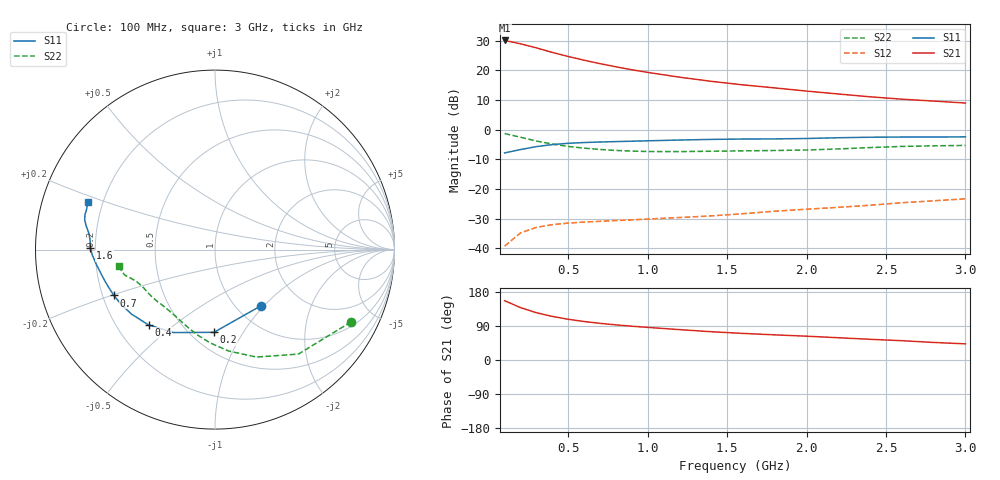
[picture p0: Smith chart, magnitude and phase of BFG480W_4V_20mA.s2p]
! Filename: 420BFG480.001
! Title: BFG480W
! Bias: Vce=4V; Ic=20mA
! Company: Philips Semiconductors NL
! User: Quality&Reliability T&D
! Measure time: 10 Nov 1999 / 12:02:24
#  MHz  S  MA  R 50
! Freq  S11  S21  S12  S22  :
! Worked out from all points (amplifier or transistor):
!   20 points, 100 MHz to 3 GHz, reference 50 ohm
!   highest |S21| = 30.1 dB at 100 MHz (marker M1)
!   |S21| within 3 dB of that: start of sweep to 332.3 MHz
!   unconditionally stable (mu >= 1): 1.358 GHz to end of sweep
!   at 400 MHz: K = 0.40, MSG = 29.1 dB, |S12| = -32.1 dB
!   at 1.2 GHz: K = 0.94, MSG = 23.7 dB, |S12| = -29.7 dB
!   at 3 GHz: K = 1.10, MAG = 14.3 dB, |S12| = -23.3 dB
!   S11 on the Smith chart (normalised r, x): 100 MHz: 1.29, -0.96; 200 MHz: 0.64, -0.75; 400 MHz: 0.33, -0.41; 700 MHz: 0.25, -0.20; 1.6 GHz: 0.18, +0.01; 3 GHz: 0.14, +0.18
100  0.4046 -50.5  31.99 156.5  0.0108 63.8  0.8583 -28.0
200  0.4609 -90.7  28.11 138.3  0.01812 53.6  0.7449 -51.4
300  0.517 -116.6  23.98 124.7  0.02243 46.5  0.642 -68.9
400  0.5595 -131.4  20.08 115.0  0.02492 42.2  0.5705 -82.3
500  0.5879 -142.3  17.18 107.5  0.02646 40.1  0.521 -92.9
600  0.6057 -149.9  14.84 101.6  0.02754 39.4  0.487 -101.2
700  0.6185 -155.6  12.99 96.8  0.02838 39.9  0.463 -108.0
800  0.6285 -160.3  11.5 92.7  0.02921 40.8  0.4459 -113.8
900  0.6379 -164.1  10.24 89.2  0.02995 42.5  0.4344 -118.9
1000  0.6479 -167.7  9.252 86.1  0.03097 44.2  0.4277 -123.6
1200  0.6676 -173.3  7.685 80.2  0.03286 47.8  0.4256 -131.7
1400  0.6843 -177.4  6.539 74.6  0.03501 51.5  0.4321 -138.0
1600  0.6942 179.2  5.698 70.2  0.03812 55.5  0.4385 -142.9
1800  0.6978 175.7  5.06 66.4  0.04199 59.1  0.4447 -147.6
2000  0.7087 172.6  4.474 62.8  0.04541 62.3  0.4533 -152.9
2200  0.7297 169.6  3.995 58.8  0.04881 64.4  0.4721 -157.9
2400  0.7445 167.2  3.58 54.6  0.05299 65.9  0.4981 -161.6
2600  0.7501 165.1  3.267 50.9  0.0584 67.1  0.5206 -164.0
2800  0.7498 162.5  3.033 46.3  0.06292 67.1  0.5326 -166.5
3000  0.7557 159.6  2.813 42.6  0.06805 67.5  0.5415 -170.0
